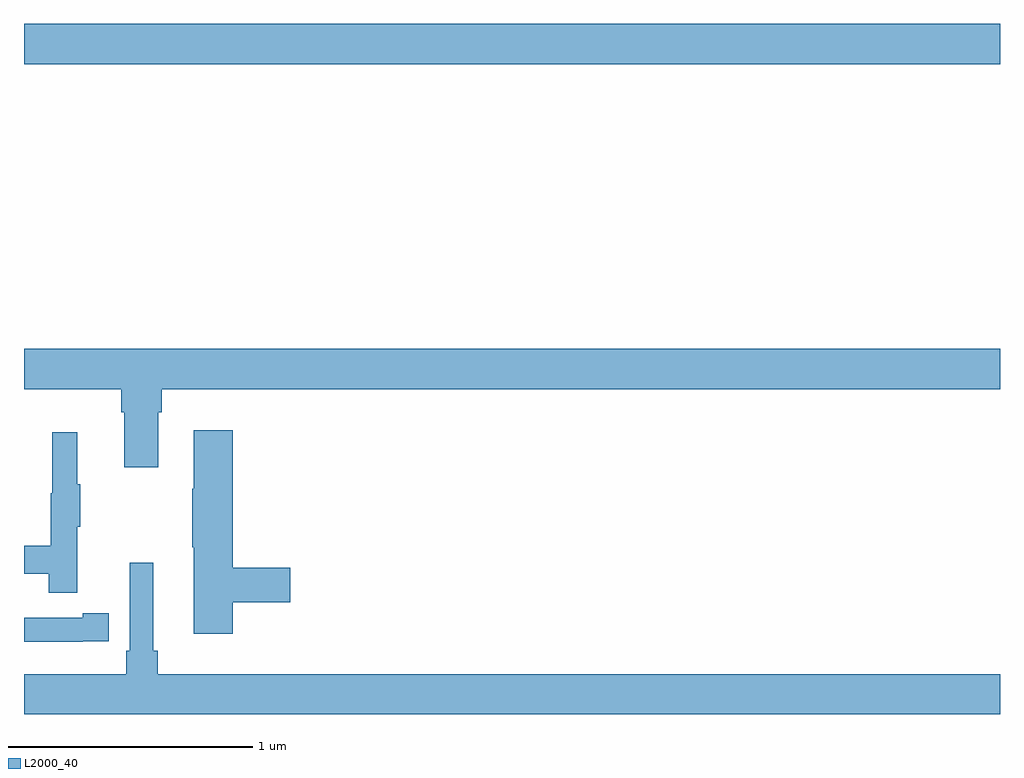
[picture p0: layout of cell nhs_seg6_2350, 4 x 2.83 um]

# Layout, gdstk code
import gdstk
lib = gdstk.Library(unit=1e-6, precision=1e-09)
def R(c, l, rs):  # rectangles x0, y0, x1, y1
    for r in rs: c.add(gdstk.rectangle(r[:2], r[2:], *l))
def P(c, l, *ps):  # polygons
    for p in ps: c.add(gdstk.Polygon(p, *l))
L2000_40 = (2000, 40)

nhs_seg6_2350 = lib.new_cell('nhs_seg6_2350')
R(nhs_seg6_2350, L2000_40, [(251,967.316,255,967.48)])
P(nhs_seg6_2350, L2000_40, [(251.551,965.888),(251.564,965.888),(251.564,965.984),(255,965.984),(255,966.148),(251,966.148),(251,965.984),(251.399,965.984),(251.399,965.888),(251.411,965.888),(251.411,965.664),(251.551,965.664)],
  [(251.855,965.11),(252.091,965.11),(252.091,965.252),(251.855,965.252),(251.855,965.815),(251.696,965.815),(251.696,965.576),(251.689,965.576),(251.689,965.335),(251.696,965.335),(251.696,964.98),(251.855,964.98)],
  [(251.219,965.419),(251.23,965.419),(251.23,965.593),(251.219,965.593),(251.219,965.806),(251.116,965.806),(251.116,965.556),(251.109,965.556),(251.109,965.342),(251,965.342),(251,965.226),(251.101,965.226),(251.101,965.148),(251.219,965.148)],
  [(255,964.816),(251.549,964.816),(251.549,964.912),(251.53,964.912),(251.53,965.272),(251.433,965.272),(251.433,964.912),(251.42,964.912),(251.42,964.816),(251,964.816),(251,964.652),(255,964.652)],
  [(251.24,964.95),(251.348,964.95),(251.348,965.066),(251.24,965.066),(251.24,965.046),(251,965.046),(251,964.949),(251.24,964.949)])

lib.write_gds('nhs_seg6_2350.gds')
